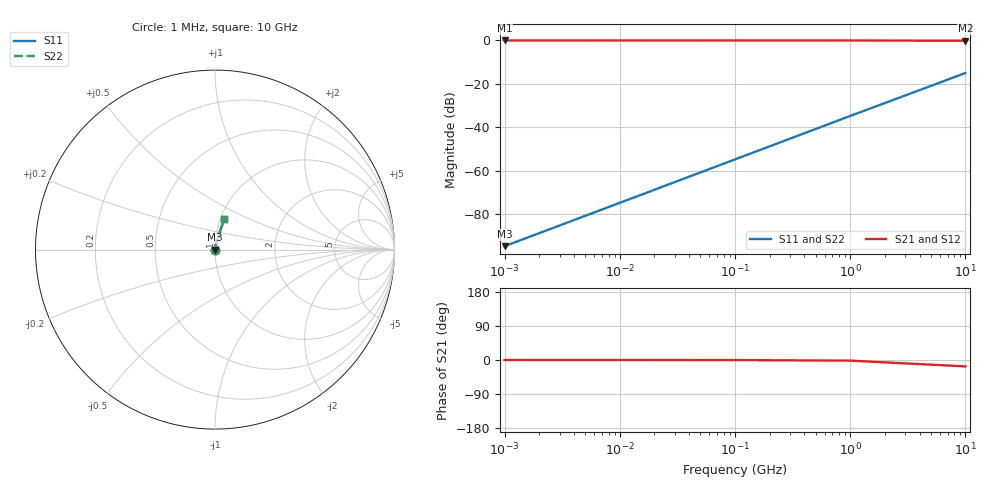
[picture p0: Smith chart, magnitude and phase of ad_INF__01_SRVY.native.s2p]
! Sonnet Data File
! From: em Version : 18.53-Lite
! From Project: ad_INF__01_SRVY
! Data is NOT De-embedded
! Data File Written: 10/12/2026 11:53:30
!< HDATE 10/12/2026 11:53:30
!< MDATE 10/12/2026 11:53:30
# GHZ S RI R 50.00000
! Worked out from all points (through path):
!   5 points, 1 MHz to 10 GHz, reference 50 ohm
!   highest |S21| = 0.00 dB at 1 MHz (marker M1); lowest = -0.1 dB at 10 GHz (marker M2)
!   lowest |S11| = -94.7 dB at 1 MHz (marker M3), VSWR 1.00, Z = 50 + j0.00184 ohm
!   |S11| at or under -10 dB: start of sweep to end of sweep
!   |S22| runs from -94.7 to -15.0 dB; largest |S21 - S12| = 8.1e-12
0.001  5.48e-10 1.84e-05  1 -2.98e-05  1 -2.98e-05  5.48e-10 1.84e-05
0.01  5.43e-08 0.000183  1 -0.000297  1 -0.000297  5.43e-08 0.000183
0.1  5.42e-06 0.00183  1 -0.00297  1 -0.00297  5.42e-06 0.00183
1  0.000542 0.0183  0.9994 -0.0297  0.9994 -0.0297  0.000542 0.0183
10  0.0514 0.1703  0.942 -0.2845  0.942 -0.2845  0.0514 0.1703
